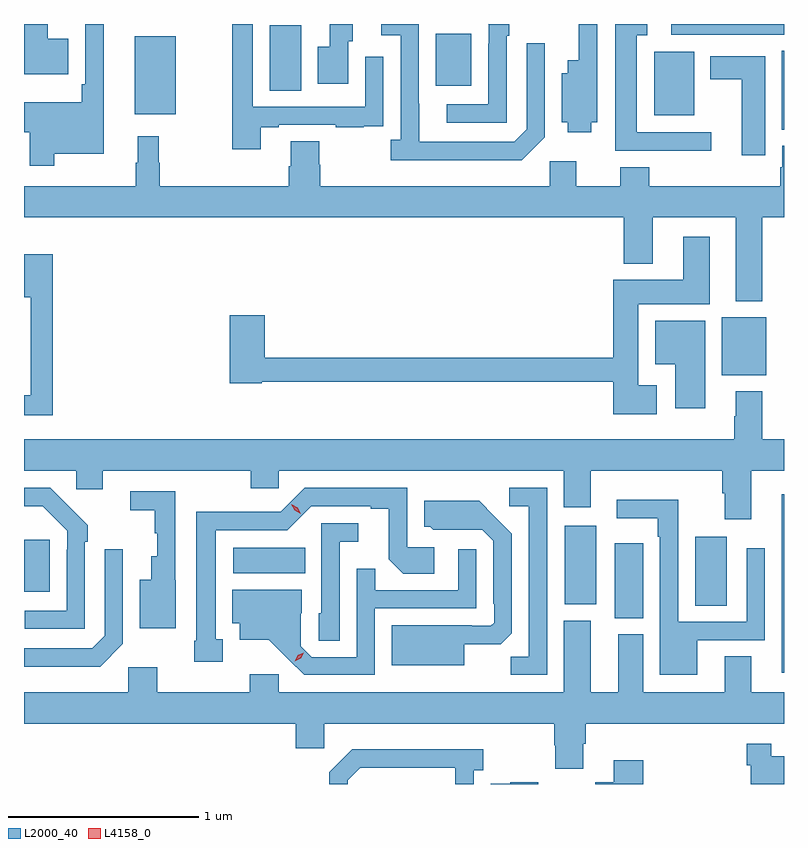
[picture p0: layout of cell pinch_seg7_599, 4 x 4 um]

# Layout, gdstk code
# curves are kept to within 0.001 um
import gdstk
lib = gdstk.Library(unit=1e-6, precision=1e-09)
def R(c, l, rs):  # rectangles x0, y0, x1, y1
    for r in rs: c.add(gdstk.rectangle(r[:2], r[2:], *l))
def P(c, l, *ps):  # polygons
    for p in ps: c.add(gdstk.Polygon(p, *l))
L2000_40 = (2000, 40)
L4158_0 = (4158, 0)

pinch_seg7_599 = lib.new_cell('pinch_seg7_599')
R(pinch_seg7_599, L2000_40, [(170.678,1010.208,170.69,1011.148), (169.799,1010.494,169.948,1010.89), (170.222,1010.56,170.389,1010.923), (169.535,1010.567,169.702,1010.98), (166.69,1010.633,166.825,1010.908), (167.79,1010.732,168.17,1010.866), (170.363,1011.773,170.596,1012.078), (170.678,1013.065,170.69,1013.48), (170.006,1013.141,170.218,1013.476), (167.273,1013.147,167.488,1013.557), (167.984,1013.272,168.148,1013.616), (168.857,1013.297,169.045,1013.572), (170.097,1013.565,170.69,1013.622)])
P(pinch_seg7_599, L2000_40, [(169.431,1013.025),(169.431,1013.521),(169.335,1013.521),(169.335,1013.067),(169.269,1013.001),(168.769,1013.001),(168.768,1013.622),(168.57,1013.622),(168.57,1013.562),(168.672,1013.562),(168.672,1013.014),(168.621,1013.014),(168.621,1012.904),(169.31,1012.904)],
  [(169.23,1013.561),(169.245,1013.561),(169.245,1013.622),(169.134,1013.622),(169.137,1013.619),(169.137,1013.519),(169.134,1013.519),(169.134,1013.199),(168.915,1013.199),(168.915,1013.103),(169.23,1013.103)],
  [(168.397,1013.532),(168.421,1013.532),(168.421,1013.622),(168.299,1013.622),(168.299,1013.503),(168.236,1013.503),(168.236,1013.307),(168.397,1013.307)],
  [(170.308,1013.052),(169.915,1013.052),(169.915,1013.564),(169.969,1013.564),(169.969,1013.622),(169.802,1013.622),(169.802,1012.955),(170.308,1012.955)],
  [(169.675,1013.105),(169.708,1013.105),(169.708,1013.327),(169.707,1013.327),(169.707,1013.622),(169.61,1013.622),(169.61,1013.431),(169.553,1013.431),(169.553,1013.362),(169.52,1013.362),(169.52,1013.105),(169.553,1013.105),(169.553,1013.051),(169.675,1013.051)],
  [(167.935,1013.079),(168.031,1013.079),(168.031,1013.091),(168.331,1013.091),(168.331,1013.079),(168.479,1013.079),(168.479,1013.085),(168.581,1013.085),(168.581,1013.194),(168.582,1013.194),(168.582,1013.449),(168.486,1013.449),(168.486,1013.187),(167.895,1013.187),(167.895,1013.622),(167.787,1013.622),(167.787,1012.962),(167.935,1012.962)],
  [(166.849,1012.94),(167.11,1012.94),(167.11,1013.622),(167.013,1013.622),(167.013,1013.305),(166.993,1013.305),(166.993,1013.209),(166.69,1013.209),(166.69,1013.051),(166.72,1013.051),(166.72,1012.875),(166.849,1012.875)],
  [(166.924,1013.545),(166.816,1013.545),(166.816,1013.622),(166.69,1013.622),(166.69,1013.357),(166.924,1013.357)],
  [(170.59,1013.452),(170.303,1013.452),(170.303,1013.33),(170.468,1013.33),(170.468,1012.932),(170.59,1012.932)],
  [(170.575,1012.604),(170.69,1012.604),(170.69,1012.98),(170.681,1012.98),(170.681,1012.869),(170.669,1012.869),(170.669,1012.768),(169.982,1012.768),(169.982,1012.867),(169.829,1012.867),(169.829,1012.768),(169.597,1012.768),(169.597,1012.9),(169.458,1012.9),(169.458,1012.768),(168.248,1012.768),(168.248,1012.881),(168.243,1012.881),(168.243,1013.006),(168.095,1013.006),(168.095,1012.874),(168.083,1012.874),(168.083,1012.768),(167.405,1012.768),(167.405,1012.892),(167.398,1012.892),(167.398,1013.032),(167.288,1013.032),(167.288,1012.892),(167.277,1012.892),(167.277,1012.768),(166.69,1012.768),(166.69,1012.604),(169.847,1012.604),(169.847,1012.361),(169.999,1012.361),(169.999,1012.604),(170.435,1012.604),(170.435,1012.163),(170.575,1012.163)],
  [(170.02,1011.721),(169.924,1011.721),(169.924,1012.148),(170.299,1012.148),(170.299,1012.501),(170.159,1012.501),(170.159,1012.276),(169.79,1012.276),(169.79,1011.866),(167.957,1011.866),(167.957,1012.09),(167.774,1012.09),(167.774,1011.73),(167.94,1011.73),(167.94,1011.738),(169.79,1011.738),(169.79,1011.569),(170.02,1011.569)],
  [(166.841,1012.411),(166.69,1012.411),(166.69,1012.185),(166.725,1012.185),(166.725,1011.669),(166.69,1011.669),(166.69,1011.564),(166.841,1011.564)],
  [(170.275,1012.06),(170.012,1012.06),(170.012,1011.83),(170.117,1011.83),(170.117,1011.6),(170.275,1011.6)],
  [(170.518,1011.272),(170.69,1011.272),(170.69,1011.436),(170.575,1011.436),(170.575,1011.688),(170.435,1011.688),(170.435,1011.557),(170.428,1011.557),(170.428,1011.436),(166.69,1011.436),(166.69,1011.272),(166.965,1011.272),(166.965,1011.174),(167.104,1011.174),(167.104,1011.272),(167.884,1011.272),(167.884,1011.179),(168.03,1011.179),(168.03,1011.272),(169.532,1011.272),(169.532,1011.078),(169.672,1011.078),(169.672,1011.272),(170.366,1011.272),(170.366,1011.152),(170.378,1011.152),(170.378,1011.015),(170.518,1011.015)],
  [(167.01,1010.897),(167.025,1010.897),(167.025,1010.985),(166.828,1011.18),(166.69,1011.18),(166.69,1011.084),(166.789,1011.084),(166.917,1010.955),(166.917,1010.855),(166.914,1010.855),(166.914,1010.535),(166.695,1010.535),(166.695,1010.439),(167.01,1010.439)],
  [(169.443,1011.18),(169.245,1011.18),(169.245,1011.084),(169.347,1011.084),(169.347,1010.291),(169.252,1010.291),(169.252,1010.196),(169.443,1010.196)],
  [(167.737,1010.385),(167.698,1010.385),(167.698,1010.958),(168.075,1010.958),(168.201,1011.084),(168.515,1011.084),(168.515,1011.072),(168.609,1011.072),(168.609,1010.804),(168.685,1010.728),(168.85,1010.728),(168.85,1010.868),(168.708,1010.868),(168.708,1011.18),(168.168,1011.18),(168.042,1011.054),(167.82,1011.054),(167.82,1011.056),(167.597,1011.056),(167.597,1010.377),(167.587,1010.377),(167.587,1010.265),(167.737,1010.265)],
  [(167.488,1010.694),(167.487,1010.694),(167.487,1011.162),(167.25,1011.162),(167.25,1011.064),(167.379,1011.064),(167.379,1010.943),(167.39,1010.943),(167.39,1010.821),(167.36,1010.821),(167.36,1010.698),(167.3,1010.698),(167.3,1010.441),(167.488,1010.441)],
  [(170.233,1010.379),(170.589,1010.379),(170.589,1010.863),(170.493,1010.863),(170.493,1010.475),(170.133,1010.475),(170.133,1011.118),(169.809,1011.118),(169.809,1011.02),(170.025,1011.02),(170.025,1010.924),(170.037,1010.924),(170.037,1010.198),(170.233,1010.198)],
  [(169.006,1010.357),(169.198,1010.357),(169.257,1010.416),(169.257,1010.938),(169.085,1011.112),(168.797,1011.112),(168.797,1010.976),(168.828,1010.976),(168.844,1010.96),(169.101,1010.961),(169.161,1010.901),(169.161,1010.572),(169.164,1010.572),(169.164,1010.472),(169.146,1010.454),(169.046,1010.454),(169.046,1010.458),(168.626,1010.458),(168.626,1010.246),(169.006,1010.246)],
  [(168.351,1010.897),(168.448,1010.897),(168.448,1010.994),(168.255,1010.994),(168.255,1010.52),(168.24,1010.52),(168.24,1010.377),(168.351,1010.377)],
  [(167.211,1010.361),(167.211,1010.857),(167.115,1010.857),(167.115,1010.403),(167.049,1010.337),(166.69,1010.337),(166.69,1010.24),(167.09,1010.24)],
  [(168.537,1010.547),(169.071,1010.547),(169.071,1010.857),(168.975,1010.857),(168.975,1010.643),(168.539,1010.643),(168.539,1010.756),(168.441,1010.756),(168.441,1010.289),(168.204,1010.289),(168.147,1010.346),(168.147,1010.52),(168.151,1010.52),(168.151,1010.644),(167.786,1010.644),(167.786,1010.468),(167.825,1010.468),(167.825,1010.381),(167.977,1010.381),(168.164,1010.196),(168.537,1010.196)],
  [(169.633,1009.834),(169.646,1009.834),(169.646,1009.94),(170.69,1009.94),(170.69,1010.104),(170.518,1010.104),(170.518,1010.294),(170.378,1010.294),(170.378,1010.104),(169.948,1010.104),(169.948,1010.409),(169.817,1010.409),(169.817,1010.104),(169.672,1010.104),(169.672,1010.482),(169.532,1010.482),(169.532,1010.104),(168.03,1010.104),(168.03,1010.2),(167.879,1010.2),(167.879,1010.104),(167.39,1010.104),(167.39,1010.236),(167.238,1010.236),(167.238,1010.104),(166.69,1010.104),(166.69,1009.94),(168.119,1009.94),(168.119,1009.809),(168.27,1009.809),(168.27,1009.94),(169.481,1009.94),(169.481,1009.827),(169.486,1009.827),(169.486,1009.702),(169.633,1009.702)],
  [(170.69,1009.768),(170.623,1009.768),(170.623,1009.834),(170.494,1009.834),(170.494,1009.721),(170.514,1009.721),(170.514,1009.622),(170.69,1009.622)],
  [(168.393,1009.641),(168.459,1009.707),(168.959,1009.707),(168.959,1009.622),(169.056,1009.622),(169.056,1009.694),(169.108,1009.694),(169.108,1009.804),(168.418,1009.804),(168.297,1009.683),(168.297,1009.622),(168.393,1009.622)],
  [(169.949,1009.747),(169.793,1009.747),(169.793,1009.63),(169.697,1009.63),(169.697,1009.622),(169.949,1009.622)],
  [(169.397,1009.63),(169.249,1009.63),(169.249,1009.623),(169.147,1009.623),(169.147,1009.622),(169.397,1009.622)])
P(pinch_seg7_599, L4158_0, [(168.147,1011.044),(168.115,1011.062),(168.097,1011.095),(168.097,1011.095),(168.097,1011.095),(168.13,1011.076),(168.147,1011.044),(168.147,1011.044)],
  [(168.115,1010.269),(168.115,1010.269),(168.132,1010.299),(168.162,1010.314),(168.163,1010.314),(168.163,1010.314),(168.146,1010.284),(168.115,1010.269)])

lib.write_gds('pinch_seg7_599.gds')
